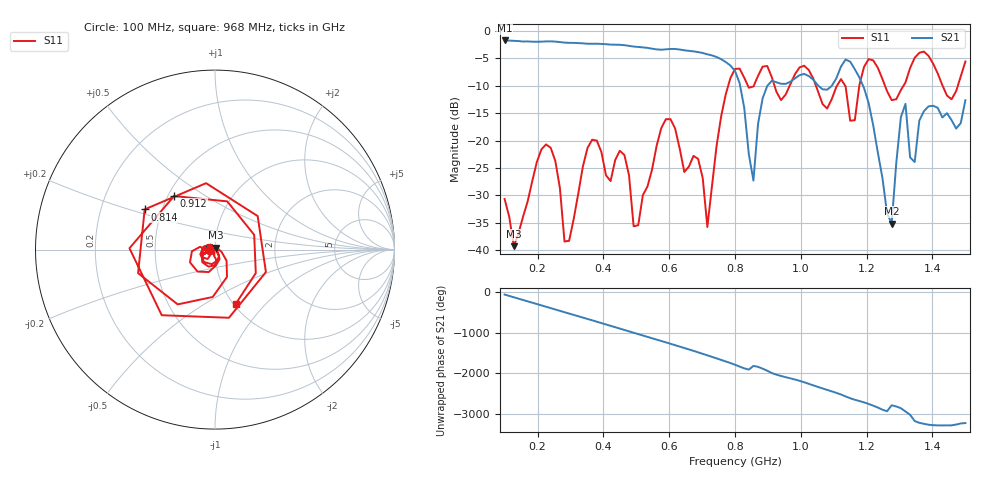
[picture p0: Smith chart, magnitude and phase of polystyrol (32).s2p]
! NanoVNA-App
! Date: 2025-09-26 09:42:08
! Start: 100MHz Stop: 1,5GHz Points: 101
! S-Parameter data: F S11 S21 S12 S22
# Hz S RI R 50
!  Frequency  S11_Real  S11_Imag  S21_Real  S21_Imag  S12_Real  S12_Imag  S22_Real  S22_Imag
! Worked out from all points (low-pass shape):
!   101 points, 100 MHz to 1.5 GHz, reference 50 ohm
!   highest |S21| = -1.79 dB at 100 MHz (marker M1); lowest = -35.1 dB at 1.276 GHz (marker M2)
!   |S21| within 3 dB of the highest: start of sweep to 743.6 MHz
!   lowest |S11| = -39.2 dB at 128 MHz (marker M3), VSWR 1.02, Z = 50.3 + j1.06 ohm
!   |S11| at or under -10 dB: start of sweep to 779.5 MHz; 1.046 GHz to 1.11 GHz (64.54 MHz wide, 5.99 % of centre); 1.256 GHz to 1.312 GHz (56.69 MHz wide, 4.42 % of centre)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
!   S12 and S22 are empty: the file has one direction only
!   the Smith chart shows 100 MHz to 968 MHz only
!   S11 on the Smith chart (normalised r, x): 100 MHz: 0.94, -0.01; 814 MHz: 0.40, +0.23; 912 MHz: 0.54, +0.37; 968 MHz: 1.02, -0.69
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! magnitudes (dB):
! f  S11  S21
! 100 MHz  -30.7  -1.8
! 128 MHz  -39.2  -1.9
! 212 MHz  -21.6  -2.0
! 254 MHz  -23.7  -2.0
! 282 MHz  -38.4  -2.2
! 338 MHz  -24.7  -2.3
! 464 MHz  -22.6  -2.6
! 506 MHz  -35.4  -3.0
! 576 MHz  -17.7  -3.5
! 688 MHz  -23.3  -3.9
! 716 MHz  -35.7  -4.3
! 800 MHz  -7.0  -7.3
! 814 MHz  -6.9  -9.6
! 856 MHz  -10.2  -27.3
! 912 MHz  -8.5  -9.1
! 968 MHz  -9.8  -9.3
! 1.038 GHz  -8.8  -8.9
! 1.178 GHz  -9.9  -8.5
! 1.276 GHz  -12.6  -35.1
! 1.318 GHz  -9.4  -13.3
! 1.346 GHz  -4.9  -23.9
! 1.5 GHz  -5.6  -12.7
